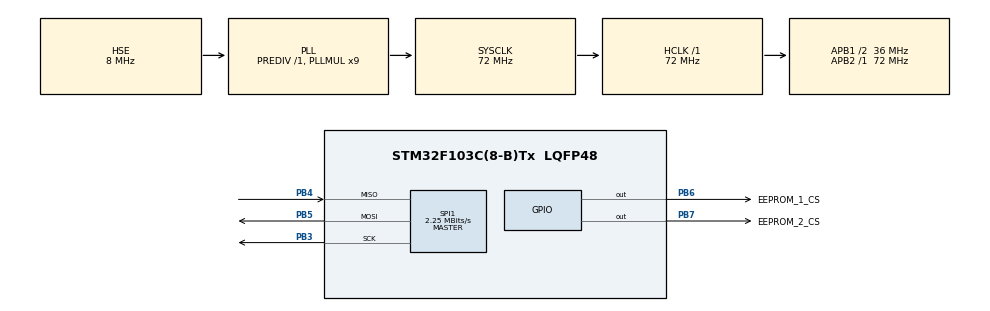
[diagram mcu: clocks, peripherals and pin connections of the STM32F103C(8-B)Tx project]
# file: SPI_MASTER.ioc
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Mcu.Family=STM32F1
Mcu.Name=STM32F103C(8-B)Tx
Mcu.Package=LQFP48
NVIC.PriorityGroup=NVIC_PRIORITYGROUP_4
NVIC.RCC_IRQn=true\:0\:0\:false\:false\:true\:true
PA13.Mode=Serial_Wire
PA13.Signal=SYS_JTMS-SWDIO
PA14.Mode=Serial_Wire
PA14.Signal=SYS_JTCK-SWCLK
PB3.Mode=Full_Duplex_Master
PB3.Signal=SPI1_SCK
PB4.Mode=Full_Duplex_Master
PB4.Signal=SPI1_MISO
PB5.Mode=Full_Duplex_Master
PB5.Signal=SPI1_MOSI
PB6.GPIO_Label=EEPROM_1_CS
PB6.Signal=GPIO_Output
PB7.GPIO_Label=EEPROM_2_CS
PB7.Signal=GPIO_Output
PD0-OSC_IN.Mode=HSE-External-Oscillator
PD0-OSC_IN.Signal=RCC_OSC_IN
PD1-OSC_OUT.Mode=HSE-External-Oscillator
PD1-OSC_OUT.Signal=RCC_OSC_OUT
ProjectManager.HeapSize=0x200
ProjectManager.StackSize=0x400
ProjectManager.TargetToolchain=MDK-ARM V5
RCC.AHBFreq_Value=72000000
RCC.APB1CLKDivider=RCC_HCLK_DIV2
RCC.APB1Freq_Value=36000000
RCC.APB1TimFreq_Value=72000000
RCC.APB2Freq_Value=72000000
RCC.APB2TimFreq_Value=72000000
RCC.HCLKFreq_Value=72000000
RCC.PLLMUL=RCC_PLL_MUL9
RCC.PLLSourceVirtual=RCC_PLLSOURCE_HSE
RCC.SYSCLKFreq_VALUE=72000000
RCC.SYSCLKSource=RCC_SYSCLKSOURCE_PLLCLK
RCC.USBFreq_Value=72000000
SPI1.BaudRatePrescaler=SPI_BAUDRATEPRESCALER_32
SPI1.CalculateBaudRate=2.25 MBits/s
SPI1.Direction=SPI_DIRECTION_2LINES
SPI1.Mode=SPI_MODE_MASTER
SPI1.VirtualType=VM_MASTER
board=SPI_MASTER

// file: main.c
/**
  ******************************************************************************
  * File Name          : main.c
  * Description        : Main program body
  ******************************************************************************
  ** This notice applies to any and all portions of this file
  * that are not between comment pairs USER CODE BEGIN and
  * USER CODE END. Other portions of this file, whether
  * inserted by the user or by software development tools
  * are owned by their respective copyright owners.
  *
  * COPYRIGHT(c) 2019 STMicroelectronics
  *
  * Redistribution and use in source and binary forms, with or without modification,
  * are permitted provided that the following conditions are met:
  *   1. Redistributions of source code must retain the above copyright notice,
  *      this list of conditions and the following disclaimer.
  *   2. Redistributions in binary form must reproduce the above copyright notice,
  *      this list of conditions and the following disclaimer in the documentation
  *      and/or other materials provided with the distribution.
  *   3. Neither the name of STMicroelectronics nor the names of its contributors
  *      may be used to endorse or promote products derived from this software
  *      without specific prior written permission.
  *
  * THIS SOFTWARE IS PROVIDED BY THE COPYRIGHT HOLDERS AND CONTRIBUTORS "AS IS"
  * AND ANY EXPRESS OR IMPLIED WARRANTIES, INCLUDING, BUT NOT LIMITED TO, THE
  * IMPLIED WARRANTIES OF MERCHANTABILITY AND FITNESS FOR A PARTICULAR PURPOSE ARE
  * DISCLAIMED. IN NO EVENT SHALL THE COPYRIGHT HOLDER OR CONTRIBUTORS BE LIABLE
  * FOR ANY DIRECT, INDIRECT, INCIDENTAL, SPECIAL, EXEMPLARY, OR CONSEQUENTIAL
  * DAMAGES (INCLUDING, BUT NOT LIMITED TO, PROCUREMENT OF SUBSTITUTE GOODS OR
  * SERVICES; LOSS OF USE, DATA, OR PROFITS; OR BUSINESS INTERRUPTION) HOWEVER
  * CAUSED AND ON ANY THEORY OF LIABILITY, WHETHER IN CONTRACT, STRICT LIABILITY,
  * OR TORT (INCLUDING NEGLIGENCE OR OTHERWISE) ARISING IN ANY WAY OUT OF THE USE
  * OF THIS SOFTWARE, EVEN IF ADVISED OF THE POSSIBILITY OF SUCH DAMAGE.
  *
  ******************************************************************************
  */
#include "main.h"
#include "stm32f1xx_hal.h"

/* USER CODE BEGIN Includes */
#define MC25LCxxx_SPI_RDID 		0xAB	//1010 1011 Release from Deep power-down and read electronic signature
#define MC25LCxxx_SPI_RDSR 		0x05	//0000 0101 Read STATUS register
#define MC25LCxxx_SPI_WREN 		0x06	//0000 0110 Set the write enable latch (enable write operations)
#define MC25LCxxx_SPI_WRDI 		0x04	//0000 0100 Reset the write enable latch (disable write operations)
#define MC25LCxxx_SPI_WRITE 	0x02  //0000 0010 Write data to memory array beginning at selected address
#define MC25LCxxx_SPI_READ 		0x03 	//0000 0011 Read data from memory array beginning at selected address
/* USER CODE END Includes */

SPI_HandleTypeDef hspi1;

/* USER CODE BEGIN PV */
/* Private variables ---------------------------------------------------------*/

/* USER CODE END PV */

void SystemClock_Config(void);
static void MX_GPIO_Init(void);
static void MX_SPI1_Init(void);

/* USER CODE BEGIN PFP */
/* Private function prototypes -----------------------------------------------*/
unsigned char MC25LC512_ReleaseDeepPowerDownMode(void)
{

	unsigned char SendOneByte;
	uint8_t RecieveByteOfReleaseDeepPowerMode=0;
	SendOneByte=MC25LCxxx_SPI_RDID;

	HAL_GPIO_WritePin(EEPROM_1_CS_GPIO_Port,EEPROM_1_CS_Pin,GPIO_PIN_RESET);
	HAL_Delay(5);// Reset The spi Chip //Reset means Enable

	HAL_SPI_Transmit(&hspi1, &SendOneByte,1,200);

	HAL_SPI_Receive(&hspi1, &RecieveByteOfReleaseDeepPowerMode, 1,200) ;//Address of Manufaturer id High
	HAL_SPI_Receive(&hspi1, &RecieveByteOfReleaseDeepPowerMode, 1,200) ;//Address of Manufaturer id Low
	HAL_SPI_Receive(&hspi1, &RecieveByteOfReleaseDeepPowerMode, 1,200) ;//Manufaturer id

	HAL_GPIO_WritePin(EEPROM_1_CS_GPIO_Port,EEPROM_1_CS_Pin,GPIO_PIN_SET); //set means DISABLE
	HAL_Delay(5);// Reset The spi Chip //Reset means Enable

	return RecieveByteOfReleaseDeepPowerMode;

}

unsigned char MC25LC512_ReadStatusRegister(void)
{

	unsigned char SendOneByte=0;
	unsigned char ReceiveOneByte;
	SendOneByte=MC25LCxxx_SPI_RDSR;

	HAL_GPIO_WritePin(EEPROM_1_CS_GPIO_Port,EEPROM_1_CS_Pin,GPIO_PIN_RESET);
	HAL_Delay(5);// Reset The spi Chip //Reset means Enable

	HAL_SPI_Transmit(&hspi1,&SendOneByte,1,200);
	HAL_SPI_Receive(&hspi1, &ReceiveOneByte, 1,200) ;//Address of Manufaturer id High

	HAL_GPIO_WritePin(EEPROM_1_CS_GPIO_Port,EEPROM_1_CS_Pin,GPIO_PIN_SET);
	HAL_Delay(5);// Reset The spi Chip //Reset means Enable
	return ReceiveOneByte;
}

void MC25LC512_WriteEnableOrDisable(unsigned char EnableOrDisable)
{
	unsigned char SendOneByte=0;

	HAL_GPIO_WritePin(EEPROM_1_CS_GPIO_Port,EEPROM_1_CS_Pin,GPIO_PIN_RESET);
	HAL_Delay(5);// Reset The spi Chip //Reset means Enable

	if(EnableOrDisable==1)//enable status
	{
			SendOneByte=MC25LCxxx_SPI_WREN;
	}
	else
	{
			SendOneByte=MC25LCxxx_SPI_WRDI;
	}
	HAL_SPI_Transmit(&hspi1 , &SendOneByte, 1, 200) ;

	HAL_GPIO_WritePin(EEPROM_1_CS_GPIO_Port,EEPROM_1_CS_Pin,GPIO_PIN_SET);
	HAL_Delay(5);// Reset The spi Chip //Reset means Enable
}

void MC25LC512_WriteBytes(uint16_t AddresOfData, unsigned char *WriteArrayOfEEProm,unsigned char SizeOfArray){

	unsigned char SendOneByte;

	HAL_GPIO_WritePin(EEPROM_1_CS_GPIO_Port,EEPROM_1_CS_Pin,GPIO_PIN_RESET);
	HAL_Delay(5);// Reset The spi Chip //Reset means Enable

	SendOneByte = MC25LCxxx_SPI_WRITE;

	HAL_SPI_Transmit(&hspi1, &SendOneByte, 1, 200);
	SendOneByte= AddresOfData>>8;
	HAL_SPI_Transmit(&hspi1, &SendOneByte, 1, 200);//High byte of address
	SendOneByte= AddresOfData & 0x00FF;
	HAL_SPI_Transmit(&hspi1, &SendOneByte, 1, 200);//Low byte of address
	HAL_SPI_Transmit(&hspi1, WriteArrayOfEEProm , SizeOfArray, SizeOfArray*20) ;
	HAL_Delay(4);

	HAL_GPIO_WritePin(EEPROM_1_CS_GPIO_Port,EEPROM_1_CS_Pin,GPIO_PIN_SET);
	HAL_Delay(5);// Reset The spi Chip //Reset means Enable

	MC25LC512_WriteEnableOrDisable(1);
}

void MC25LC512_Read(uint16_t AddresOfData, unsigned char *DataArrayOfEEProm,unsigned char SizeOfArray)
{
	unsigned char SendOneByte;

	HAL_GPIO_WritePin(EEPROM_1_CS_GPIO_Port,EEPROM_1_CS_Pin,GPIO_PIN_RESET);
	HAL_Delay(5);// Reset The spi Chip //Reset means Enable

	SendOneByte = MC25LCxxx_SPI_READ;//Config the Device

	HAL_SPI_Transmit(&hspi1, &SendOneByte, 1, 200);

	SendOneByte= AddresOfData>>8;
	HAL_SPI_Transmit(&hspi1, &SendOneByte, 1, 200);//High byte of address
	SendOneByte= AddresOfData & 0x00FF;
	HAL_SPI_Transmit(&hspi1, &SendOneByte, 1, 200);//Low byte of address

	HAL_SPI_Receive(&hspi1, DataArrayOfEEProm, SizeOfArray, SizeOfArray*30) ;//Receive Amount of  Data from EEPROM

	HAL_GPIO_WritePin(EEPROM_1_CS_GPIO_Port,EEPROM_1_CS_Pin,GPIO_PIN_SET);
	HAL_Delay(5);// Reset The spi Chip //Reset means Enable
}
/* USER CODE END PFP */

/* USER CODE BEGIN 0 */
unsigned char readDataFromEepromBuffer[4] = {0, 0, 0, 0};
/* USER CODE END 0 */

int main(void)
{

  /* MCU Configuration----------------------------------------------------------*/

  /* Reset of all peripherals, Initializes the Flash interface and the Systick. */
  HAL_Init();

  /* Configure the system clock */
  SystemClock_Config();

  /* Initialize all configured peripherals */
  MX_GPIO_Init();
  MX_SPI1_Init();

  /* USER CODE BEGIN 2 */
	HAL_GPIO_WritePin(EEPROM_1_CS_GPIO_Port,EEPROM_1_CS_Pin,GPIO_PIN_SET);
	HAL_GPIO_WritePin(EEPROM_2_CS_GPIO_Port,EEPROM_2_CS_Pin,GPIO_PIN_SET);
	HAL_Delay(250);

	//initialize MC25LC512
	HAL_GPIO_WritePin(EEPROM_1_CS_GPIO_Port,EEPROM_1_CS_Pin,GPIO_PIN_SET); //set means DISABLE
	HAL_Delay(5);

	MC25LC512_ReleaseDeepPowerDownMode();
	MC25LC512_ReadStatusRegister();
	MC25LC512_WriteEnableOrDisable(1);
	//end of initialize

	//read data first
	MC25LC512_Read(0x00d0, readDataFromEepromBuffer, 4);

	//write data to eeprom
	int i = 0;
	for(i=0;i<4;i++)
		readDataFromEepromBuffer[i] = 0;
	MC25LC512_WriteBytes(0x00d0, (unsigned char*)"dodo", 4);
	MC25LC512_Read(0x00d0, readDataFromEepromBuffer, 4);

  /* USER CODE END 2 */

  /* Infinite loop */
  while (1)
  {

  }

}

/** System Clock Configuration
*/
void SystemClock_Config(void)
{

  RCC_OscInitTypeDef RCC_OscInitStruct;
  RCC_ClkInitTypeDef RCC_ClkInitStruct;

    /**Initializes the CPU, AHB and APB busses clocks
    */
  RCC_OscInitStruct.OscillatorType = RCC_OSCILLATORTYPE_HSE;
  RCC_OscInitStruct.HSEState = RCC_HSE_ON;
  RCC_OscInitStruct.HSEPredivValue = RCC_HSE_PREDIV_DIV1;
  RCC_OscInitStruct.HSIState = RCC_HSI_ON;
  RCC_OscInitStruct.PLL.PLLState = RCC_PLL_ON;
  RCC_OscInitStruct.PLL.PLLSource = RCC_PLLSOURCE_HSE;
  RCC_OscInitStruct.PLL.PLLMUL = RCC_PLL_MUL9;
  if (HAL_RCC_OscConfig(&RCC_OscInitStruct) != HAL_OK)
  {
    _Error_Handler(__FILE__, __LINE__);
  }

    /**Initializes the CPU, AHB and APB busses clocks
    */
  RCC_ClkInitStruct.ClockType = RCC_CLOCKTYPE_HCLK|RCC_CLOCKTYPE_SYSCLK
                              |RCC_CLOCKTYPE_PCLK1|RCC_CLOCKTYPE_PCLK2;
  RCC_ClkInitStruct.SYSCLKSource = RCC_SYSCLKSOURCE_PLLCLK;
  RCC_ClkInitStruct.AHBCLKDivider = RCC_SYSCLK_DIV1;
  RCC_ClkInitStruct.APB1CLKDivider = RCC_HCLK_DIV2;
  RCC_ClkInitStruct.APB2CLKDivider = RCC_HCLK_DIV1;

  if (HAL_RCC_ClockConfig(&RCC_ClkInitStruct, FLASH_LATENCY_2) != HAL_OK)
  {
    _Error_Handler(__FILE__, __LINE__);
  }

    /**Configure the Systick interrupt time
    */
  HAL_SYSTICK_Config(HAL_RCC_GetHCLKFreq()/1000);

    /**Configure the Systick
    */
  HAL_SYSTICK_CLKSourceConfig(SYSTICK_CLKSOURCE_HCLK);

  /* SysTick_IRQn interrupt configuration */
  HAL_NVIC_SetPriority(SysTick_IRQn, 0, 0);
}

/* SPI1 init function */
static void MX_SPI1_Init(void)
{

  /* SPI1 parameter configuration*/
  hspi1.Instance = SPI1;
  hspi1.Init.Mode = SPI_MODE_MASTER;
  hspi1.Init.Direction = SPI_DIRECTION_2LINES;
  hspi1.Init.DataSize = SPI_DATASIZE_8BIT;
  hspi1.Init.CLKPolarity = SPI_POLARITY_LOW;
  hspi1.Init.CLKPhase = SPI_PHASE_1EDGE;
  hspi1.Init.NSS = SPI_NSS_SOFT;
  hspi1.Init.BaudRatePrescaler = SPI_BAUDRATEPRESCALER_32;
  hspi1.Init.FirstBit = SPI_FIRSTBIT_MSB;
  hspi1.Init.TIMode = SPI_TIMODE_DISABLE;
  hspi1.Init.CRCCalculation = SPI_CRCCALCULATION_DISABLE;
  hspi1.Init.CRCPolynomial = 10;
  if (HAL_SPI_Init(&hspi1) != HAL_OK)
  {
    _Error_Handler(__FILE__, __LINE__);
  }

}

/** Configure pins as
        * Analog
        * Input
        * Output
        * EVENT_OUT
        * EXTI
*/
static void MX_GPIO_Init(void)
{

  GPIO_InitTypeDef GPIO_InitStruct;

  /* GPIO Ports Clock Enable */
  __HAL_RCC_GPIOD_CLK_ENABLE();
  __HAL_RCC_GPIOA_CLK_ENABLE();
  __HAL_RCC_GPIOB_CLK_ENABLE();

  /*Configure GPIO pin Output Level */
  HAL_GPIO_WritePin(GPIOB, EEPROM_1_CS_Pin|EEPROM_2_CS_Pin, GPIO_PIN_RESET);

  /*Configure GPIO pins : EEPROM_1_CS_Pin EEPROM_2_CS_Pin */
  GPIO_InitStruct.Pin = EEPROM_1_CS_Pin|EEPROM_2_CS_Pin;
  GPIO_InitStruct.Mode = GPIO_MODE_OUTPUT_PP;
  GPIO_InitStruct.Speed = GPIO_SPEED_FREQ_LOW;
  HAL_GPIO_Init(GPIOB, &GPIO_InitStruct);

}

void _Error_Handler(char * file, int line)
{
  while(1)
  {
  }
}

/************************ (C) COPYRIGHT STMicroelectronics *****END OF FILE****/
